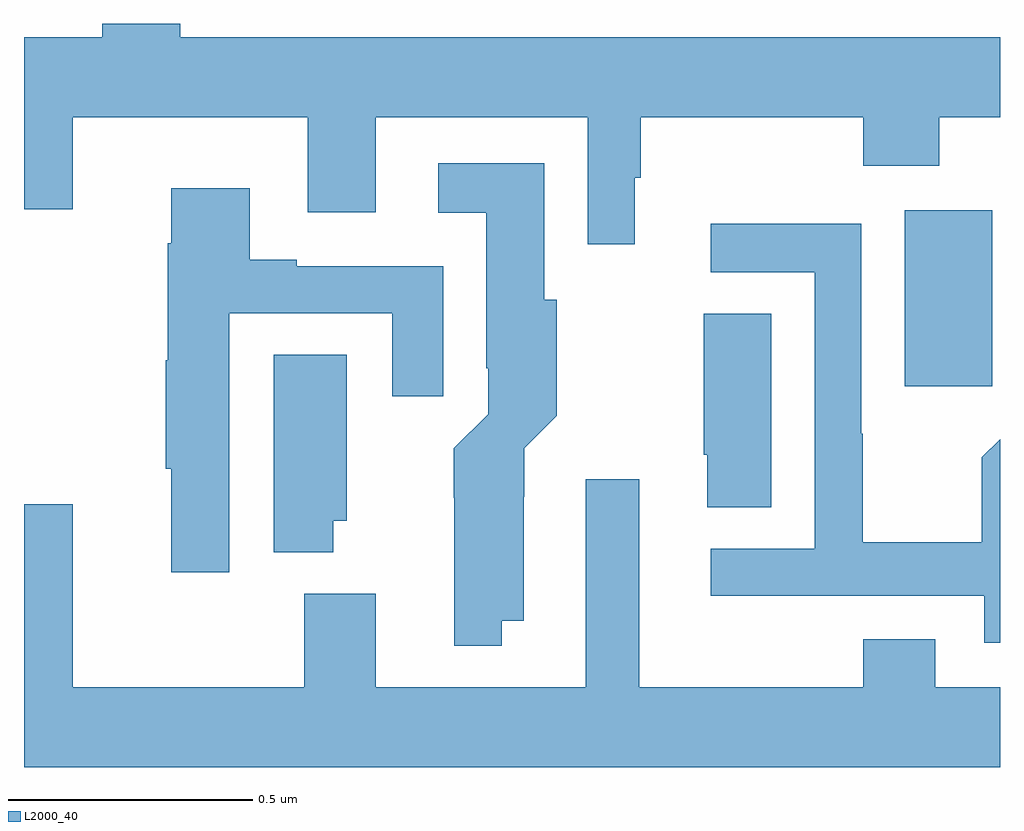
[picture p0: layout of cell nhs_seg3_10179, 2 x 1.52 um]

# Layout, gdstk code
import gdstk
lib = gdstk.Library(unit=1e-6, precision=1e-09)
def R(c, l, rs):  # rectangles x0, y0, x1, y1
    for r in rs: c.add(gdstk.rectangle(r[:2], r[2:], *l))
def P(c, l, *ps):  # polygons
    for p in ps: c.add(gdstk.Polygon(p, *l))
L2000_40 = (2000, 40)

nhs_seg3_10179 = lib.new_cell('nhs_seg3_10179')
R(nhs_seg3_10179, L2000_40, [(238.805,741.657,238.984,742.018)])
P(nhs_seg3_10179, L2000_40, [(238.252,742.084),(238.264,742.084),(238.264,742.208),(238.72,742.208),(238.72,742.109),(238.875,742.109),(238.875,742.208),(239,742.208),(239,742.372),(237.32,742.372),(237.32,742.4),(237.16,742.4),(237.16,742.372),(237,742.372),(237,742.02),(237.1,742.02),(237.1,742.208),(237.581,742.208),(237.581,742.014),(237.721,742.014),(237.721,742.208),(238.155,742.208),(238.155,741.948),(238.252,741.948)],
  [(237.979,741.176),(238.024,741.176),(238.024,741.431),(238.025,741.431),(238.025,741.53),(238.092,741.597),(238.092,741.834),(238.066,741.834),(238.066,742.114),(237.849,742.114),(237.849,742.013),(237.947,742.013),(237.947,741.694),(237.951,741.694),(237.951,741.6),(237.881,741.53),(237.881,741.428),(237.882,741.428),(237.882,741.125),(237.979,741.125)],
  [(237.421,741.807),(237.755,741.807),(237.755,741.636),(237.859,741.636),(237.859,741.903),(237.559,741.903),(237.559,741.916),(237.463,741.916),(237.463,742.063),(237.302,742.063),(237.302,741.95),(237.295,741.95),(237.295,741.71),(237.29,741.71),(237.29,741.488),(237.302,741.488),(237.302,741.276),(237.421,741.276)],
  [(239,741.548),(238.963,741.511),(238.963,741.337),(238.719,741.337),(238.719,741.56),(238.716,741.56),(238.716,741.99),(238.407,741.99),(238.407,741.891),(238.62,741.891),(238.62,741.324),(238.407,741.324),(238.407,741.228),(238.968,741.228),(238.968,741.131),(239,741.131)],
  [(238.531,741.806),(238.393,741.806),(238.393,741.517),(238.4,741.517),(238.4,741.409),(238.531,741.409)],
  [(237.634,741.381),(237.661,741.381),(237.661,741.722),(237.512,741.722),(237.512,741.317),(237.634,741.317)],
  [(239,741.04),(238.867,741.04),(238.867,741.139),(238.72,741.139),(238.72,741.04),(238.261,741.04),(238.261,741.466),(238.151,741.466),(238.151,741.04),(237.721,741.04),(237.721,741.232),(237.574,741.232),(237.574,741.04),(237.1,741.04),(237.1,741.415),(237,741.415),(237,740.876),(239,740.876)])

lib.write_gds('nhs_seg3_10179.gds')
